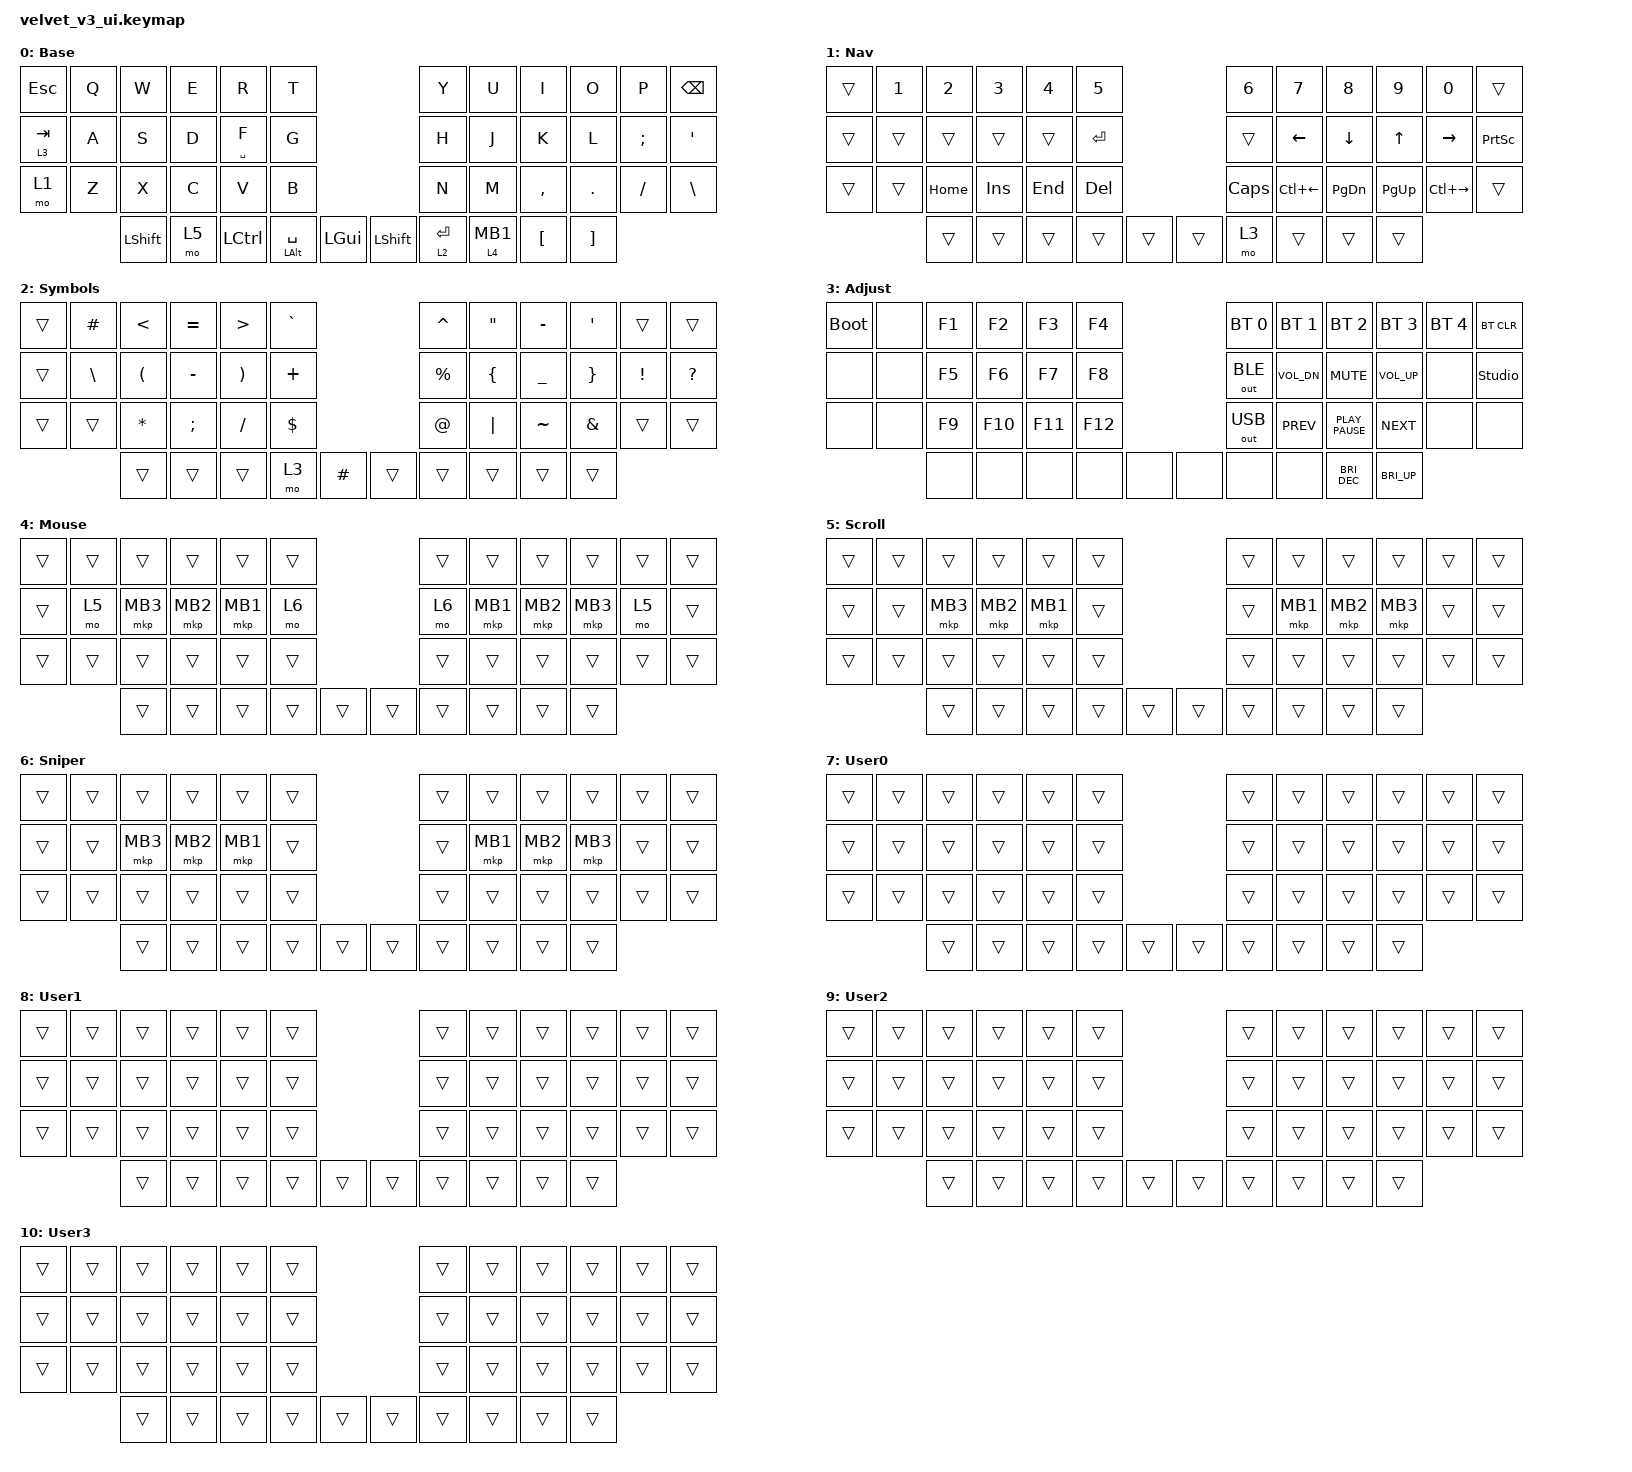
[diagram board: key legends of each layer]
#include "keys_ru.h"
#include <dt-bindings/zmk/input_transform.h>
#include <input/processors.dtsi>
#include <zephyr/dt-bindings/input/input-event-codes.h>
#include <behaviors.dtsi>
#include <dt-bindings/zmk/bt.h>
#include <dt-bindings/zmk/keys.h>
#include <dt-bindings/zmk/outputs.h>
#include <dt-bindings/zmk/pointing.h>

/ {
    behaviors {
        cap_sen: cap_sen {
            compatible = "zmk,behavior-hold-tap";
            label = "CAP_SEN";
            bindings = <&mo>, <&mkp>;

            #binding-cells = <2>;
            tapping-term-ms = <75>;
            hold-while-undecided;
        };

        mouse_layer: mouse_layer {
            compatible = "zmk,behavior-sticky-key";
            label = "MOUSE_LAYER";
            bindings = <&mo>;
            #binding-cells = <1>;
            release-after-ms = <200>;
        };

        zip_auto_mouse: zip_auto_mouse {
            compatible = "zmk,input-processor-temp-layer";
            #input-processor-cells = <2>;
            require-prior-idle-ms = <800>;
            excluded-positions = <>;
        };
    };

    combos {
        compatible = "zmk,combos";

        close_window {
            bindings = <&kt LA(F4)>;
            key-positions = <0 1>;
        };

        left_brace {
            bindings = <&ru_left_brace>;
            key-positions = <19 20>;
        };

        right_brace {
            bindings = <&ru_right_brace>;
            key-positions = <21 20>;
        };
    };

    macros {
        ru_left_brace: ru_left_brace {
            compatible = "zmk,behavior-macro";
            #binding-cells = <0>;
            bindings = <&kp LG(SPACE) &kp LEFT_BRACE &kp LG(SPACE)>;
            label = "RU_LEFT_BRACE";
        };

        ru_right_brace: ru_right_brace {
            compatible = "zmk,behavior-macro";
            #binding-cells = <0>;
            bindings = <&kp LG(SPACE) &kp RIGHT_BRACE &kp LG(SPACE)>;
            label = "RU_RIGHT_BRACE";
        };
    };

    keymap {
        compatible = "zmk,keymap";

        base {
            bindings = <
&kp ESC    &kp Q  &kp W           &kp E  &kp R        &kp T                                               &kp Y         &kp U           &kp I      &kp O     &kp P      &kp BSPC
&lt 3 TAB  &kp A  &kp S           &kp D  &mt SPACE F  &kp G                                               &kp H         &kp J           &kp K      &kp L     &kp SEMI   &kp SINGLE_QUOTE
&mo 1      &kp Z  &kp X           &kp C  &kp V        &kp B                                               &kp N         &kp M           &kp COMMA  &kp DOT   &kp SLASH  &kp BACKSLASH
                  &kp LEFT_SHIFT  &mo 5  &kp LCTRL    &mt LEFT_ALT SPACE  &kp LEFT_GUI    &kp LEFT_SHIFT  &lt 2 RETURN  &cap_sen 4 MB1  &kp LBKT   &kp RBKT
            >;

            display-name = "Base";
        };

        nav {
            bindings = <
&trans  &kp N1  &kp N2    &kp N3   &kp N4   &kp N5                     &kp N6    &kp N7        &kp N8         &kp N9       &kp N0         &trans
&trans  &trans  &trans    &trans   &trans   &kp RET                    &trans    &kp LEFT      &kp DOWN       &kp UP       &kp RIGHT      &kp PRINTSCREEN
&trans  &trans  &kp HOME  &kp INS  &kp END  &kp DEL                    &kp CLCK  &kp LC(LEFT)  &kp PAGE_DOWN  &kp PAGE_UP  &kp LC(RIGHT)  &trans
                &trans    &trans   &trans   &trans   &trans    &trans  &mo 3     &trans        &trans         &trans
            >;

            display-name = "Nav";
        };

        sym {
            bindings = <
&trans  &kp HASH  &kp LT    &kp EQUAL  &kp GT    &kp GRAVE                      &kp CARET  &kp DQT   &kp MINUS       &kp SQT   &trans    &trans
&trans  &kp BSLH  &kp LPAR  &kp MINUS  &kp RPAR  &kp PLUS                       &kp PRCNT  &kp LBRC  &kp UNDERSCORE  &kp RBRC  &kp EXCL  &kp QUESTION
&trans  &trans    &kp STAR  &kp SEMI   &kp FSLH  &kp DLLR                       &kp AT     &kp PIPE  &kp TILDE       &kp AMPS  &trans    &trans
                  &trans    &trans     &trans    &mo 3      &kp HASH    &trans  &trans     &trans    &trans          &trans
            >;

            display-name = "Symbols";
        };

        adj {
            bindings = <
&bootloader  &none  &kp F1  &kp F2   &kp F3   &kp F4                   &bt BT_SEL 0  &bt BT_SEL 1  &bt BT_SEL 2          &bt BT_SEL 3  &bt BT_SEL 4  &bt BT_CLR
&none        &none  &kp F5  &kp F6   &kp F7   &kp F8                   &out OUT_BLE  &kp C_VOL_DN  &kp K_MUTE            &kp C_VOL_UP  &none         &studio_unlock
&none        &none  &kp F9  &kp F10  &kp F11  &kp F12                  &out OUT_USB  &kp K_PREV    &kp K_PLAY_PAUSE      &kp K_NEXT    &none         &none
                    &none   &none    &none    &none    &none    &none  &none         &none         &kp C_BRIGHTNESS_DEC  &kp C_BRI_UP
            >;

            display-name = "Adjust";
        };

        mouse {
            bindings = <
&trans  &trans  &trans    &trans    &trans    &trans                    &trans  &trans    &trans    &trans    &trans  &trans
&trans  &mo 5   &mkp MB3  &mkp MB2  &mkp MB1  &mo 6                     &mo 6   &mkp MB1  &mkp MB2  &mkp MB3  &mo 5   &trans
&trans  &trans  &trans    &trans    &trans    &trans                    &trans  &trans    &trans    &trans    &trans  &trans
                &trans    &trans    &trans    &trans  &trans    &trans  &trans  &trans    &trans    &trans
            >;

            display-name = "Mouse";
        };

        scroll {
            bindings = <
&trans  &trans  &trans    &trans    &trans    &trans                    &trans  &trans    &trans    &trans    &trans  &trans
&trans  &trans  &mkp MB3  &mkp MB2  &mkp MB1  &trans                    &trans  &mkp MB1  &mkp MB2  &mkp MB3  &trans  &trans
&trans  &trans  &trans    &trans    &trans    &trans                    &trans  &trans    &trans    &trans    &trans  &trans
                &trans    &trans    &trans    &trans  &trans    &trans  &trans  &trans    &trans    &trans
            >;

            display-name = "Scroll";
        };

        sniper {
            bindings = <
&trans  &trans  &trans    &trans    &trans    &trans                    &trans  &trans    &trans    &trans    &trans  &trans
&trans  &trans  &mkp MB3  &mkp MB2  &mkp MB1  &trans                    &trans  &mkp MB1  &mkp MB2  &mkp MB3  &trans  &trans
&trans  &trans  &trans    &trans    &trans    &trans                    &trans  &trans    &trans    &trans    &trans  &trans
                &trans    &trans    &trans    &trans  &trans    &trans  &trans  &trans    &trans    &trans
            >;

            display-name = "Sniper";
        };

        User0 {
            bindings = <
&trans  &trans  &trans  &trans  &trans  &trans                    &trans  &trans  &trans  &trans  &trans  &trans
&trans  &trans  &trans  &trans  &trans  &trans                    &trans  &trans  &trans  &trans  &trans  &trans
&trans  &trans  &trans  &trans  &trans  &trans                    &trans  &trans  &trans  &trans  &trans  &trans
                &trans  &trans  &trans  &trans  &trans    &trans  &trans  &trans  &trans  &trans
            >;

            display-name = "User0";
        };

        User1 {
            bindings = <
&trans  &trans  &trans  &trans  &trans  &trans                    &trans  &trans  &trans  &trans  &trans  &trans
&trans  &trans  &trans  &trans  &trans  &trans                    &trans  &trans  &trans  &trans  &trans  &trans
&trans  &trans  &trans  &trans  &trans  &trans                    &trans  &trans  &trans  &trans  &trans  &trans
                &trans  &trans  &trans  &trans  &trans    &trans  &trans  &trans  &trans  &trans
            >;

            display-name = "User1";
        };

        User2 {
            bindings = <
&trans  &trans  &trans  &trans  &trans  &trans                    &trans  &trans  &trans  &trans  &trans  &trans
&trans  &trans  &trans  &trans  &trans  &trans                    &trans  &trans  &trans  &trans  &trans  &trans
&trans  &trans  &trans  &trans  &trans  &trans                    &trans  &trans  &trans  &trans  &trans  &trans
                &trans  &trans  &trans  &trans  &trans    &trans  &trans  &trans  &trans  &trans
            >;

            display-name = "User2";
        };

        User3 {
            bindings = <
&trans  &trans  &trans  &trans  &trans  &trans                    &trans  &trans  &trans  &trans  &trans  &trans
&trans  &trans  &trans  &trans  &trans  &trans                    &trans  &trans  &trans  &trans  &trans  &trans
&trans  &trans  &trans  &trans  &trans  &trans                    &trans  &trans  &trans  &trans  &trans  &trans
                &trans  &trans  &trans  &trans  &trans    &trans  &trans  &trans  &trans  &trans
            >;

            display-name = "User3";
        };
    };
};

&trackball { cpi = <1000>; };

&trackball_listener {
    input-processors = <&zip_auto_mouse 4 500>, <&zip_xy_scaler 9 20>;

    scroller {
        layers = <5>;
        input-processors =
            <&zip_xy_transform (INPUT_TRANSFORM_Y_INVERT | INPUT_TRANSFORM_X_INVERT )>,
            <&zip_xy_scaler 1 32>,
            <&zip_xy_to_scroll_mapper>;
    };

    sniper {
        layers = <6>;
        input-processors = <&zip_xy_scaler 1 4>;
    };
};
